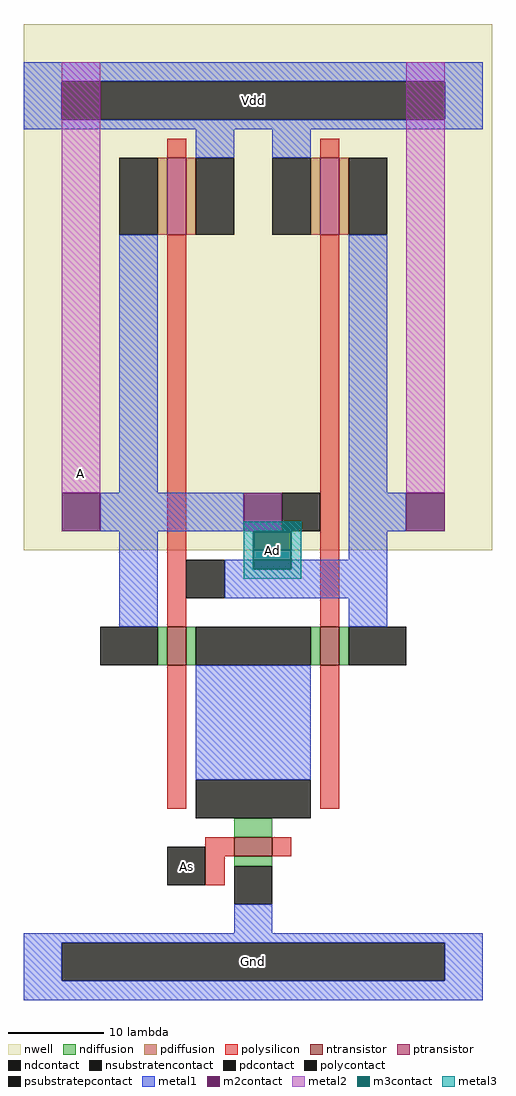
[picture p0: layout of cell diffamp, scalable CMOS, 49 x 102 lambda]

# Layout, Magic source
magic
tech scmos
<< nwell >>
rect 75 10 124 65
<< ntransistor >>
rect 90 -2 92 2
rect 106 -2 108 2
rect 97 -22 101 -20
<< ptransistor >>
rect 90 43 92 51
rect 106 43 108 51
<< ndiffusion >>
rect 89 -2 90 2
rect 92 -2 93 2
rect 105 -2 106 2
rect 108 -2 109 2
rect 97 -20 101 -18
rect 97 -23 101 -22
<< pdiffusion >>
rect 89 43 90 51
rect 92 43 93 51
rect 105 43 106 51
rect 108 43 109 51
<< ndcontact >>
rect 83 -2 89 2
rect 93 -2 105 2
rect 109 -2 115 2
rect 93 -18 105 -14
rect 97 -27 101 -23
<< pdcontact >>
rect 85 43 89 51
rect 93 43 97 51
rect 101 43 105 51
rect 109 43 113 51
<< psubstratepcontact >>
rect 79 -35 119 -31
<< nsubstratencontact >>
rect 79 55 119 59
<< polysilicon >>
rect 90 51 92 53
rect 106 51 108 53
rect 90 2 92 43
rect 106 2 108 43
rect 90 -17 92 -2
rect 106 -17 108 -2
rect 94 -22 97 -20
rect 101 -22 103 -20
rect 94 -25 96 -22
<< polycontact >>
rect 102 12 106 16
rect 92 5 96 9
rect 90 -25 94 -21
<< metal1 >>
rect 75 59 123 61
rect 75 55 79 59
rect 119 55 123 59
rect 75 54 123 55
rect 93 51 97 54
rect 101 51 105 54
rect 85 16 89 43
rect 109 16 113 43
rect 83 12 98 16
rect 109 12 115 16
rect 85 2 89 12
rect 109 9 113 12
rect 96 5 113 9
rect 109 2 113 5
rect 93 -14 105 -2
rect 97 -30 101 -27
rect 75 -31 123 -30
rect 75 -35 79 -31
rect 119 -35 123 -31
rect 75 -37 123 -35
<< m2contact >>
rect 79 12 83 16
rect 98 12 102 16
rect 115 12 119 16
<< metal2 >>
rect 79 16 83 61
rect 115 16 119 61
<< m3contact >>
rect 99 8 103 12
<< metal3 >>
rect 98 12 104 13
rect 98 8 99 12
rect 103 8 104 12
rect 98 7 104 8
<< labels >>
rlabel nsubstratencontact 99 57 99 57 1 Vdd
rlabel polycontact 92 -23 92 -23 1 As
rlabel psubstratepcontact 99 -33 99 -33 1 Gnd
rlabel metal2 81 18 81 18 1 A
rlabel metal3 98 7 104 13 1 Ad
<< end >>
